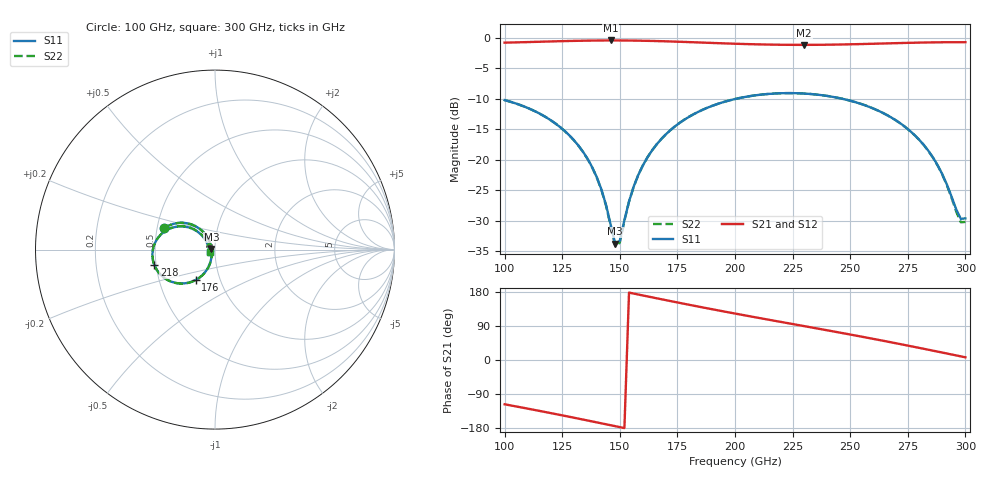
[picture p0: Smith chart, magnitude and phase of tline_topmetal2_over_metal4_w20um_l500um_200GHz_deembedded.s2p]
! Created with skrf 2.2.0 (http://scikit-rf.org).
# GHz S DB R 50.0
! Port[1] = P1
! Port[2] = P2
!freq dBS11 angS11 dBS21 angS21 dBS12 angS12 dBS22 angS22
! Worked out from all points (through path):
!   101 points, 100 GHz to 300 GHz, reference 50 ohm
!   highest |S21| = -0.47 dB at 146 GHz (marker M1); lowest = -1.2 dB at 230 GHz (marker M2)
!   group delay of S21, straight-line fit = 3.25 ps
!   lowest |S11| = -33.8 dB at 148 GHz (marker M3), VSWR 1.04, Z = 48 + j0.378 ohm
!   |S11| at or under -10 dB: start of sweep to 200.9 GHz; 246.2 GHz to end of sweep
!   |S22| runs from -34.2 to -9.1 dB; largest |S21 - S12| = 1.1e-14
!   S11 on the Smith chart (normalised r, x): 100 GHz: 0.54, +0.14; 176 GHz: 0.77, -0.27; 218 GHz: 0.49, -0.09; 300 GHz: 0.94, -0.02
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100  -10.25 157.4  -0.83 -116.9  -0.83 -116.9  -10.25 157.3
120  -13.54 136.2  -0.63 -140.1  -0.63 -140.1  -13.55 136.0
134  -18.70 123.8  -0.51 -157.1  -0.51 -157.1  -18.72 123.4
140  -22.88 122.5  -0.48 -164.6  -0.48 -164.6  -22.93 121.9
144  -27.41 129.0  -0.47 -169.6  -0.47 -169.6  -27.53 128.1
146  -30.62 140.7  -0.47 -172.1  -0.47 -172.1  -30.84 139.6
148  -33.80 168.9  -0.47 -174.6  -0.47 -174.6  -34.20 168.6
150  -33.31 -149.4  -0.47 -177.1  -0.47 -177.1  -33.61 -147.9
154  -26.87 -115.7  -0.48 177.8  -0.48 177.8  -26.91 -114.5
158  -22.54 -110.4  -0.50 172.8  -0.50 172.8  -22.54 -109.6
168  -16.63 -115.0  -0.59 160.4  -0.59 160.4  -16.63 -114.6
176  -13.98 -122.4  -0.68 150.6  -0.68 150.6  -13.97 -122.2
200  -10.07 -147.4  -1.00 122.6  -1.00 122.6  -10.07 -147.2
218  -9.15 -165.9  -1.16 102.6  -1.16 102.6  -9.15 -165.8
230  -9.17 -178.1  -1.19 89.4  -1.19 89.4  -9.17 -178.1
234  -9.29 177.9  -1.18 85.0  -1.18 85.0  -9.28 177.9
252  -10.56 159.7  -1.08 65.0  -1.08 65.0  -10.55 159.7
268  -13.14 144.2  -0.93 46.4  -0.93 46.4  -13.14 143.9
284  -18.60 133.1  -0.79 27.0  -0.79 27.0  -18.62 132.3
290  -22.42 135.2  -0.76 19.6  -0.76 19.6  -22.49 133.9
298  -29.72 178.0  -0.75 9.6  -0.75 9.6  -30.27 176.9
300  -29.65 -157.1  -0.75 7.1  -0.75 7.1  -30.23 -156.3
